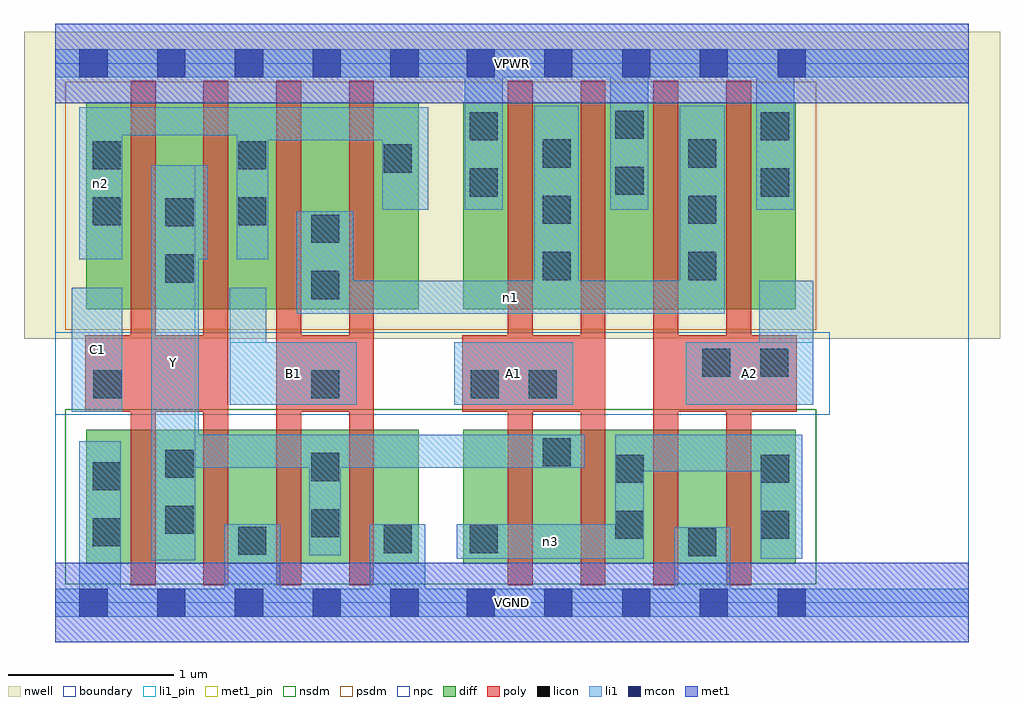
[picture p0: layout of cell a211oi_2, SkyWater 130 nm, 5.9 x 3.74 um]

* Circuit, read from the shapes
.subckt a211oi_2 A1 A2 B1 C1 VGND VPWR Y n1 n2 n3
XM1 Y C1 VGND VSUBS sky130_fd_pr__nfet_01v8 w=0.81 l=0.15 m=2
XM2 Y B1 VGND VSUBS sky130_fd_pr__nfet_01v8 w=0.81 l=0.15 m=2
XM3 Y A1 n3 VSUBS sky130_fd_pr__nfet_01v8 w=0.81 l=0.15 m=2
XM4 VGND A2 n3 VSUBS sky130_fd_pr__nfet_01v8 w=0.81 l=0.15 m=2
XM5 Y C1 n2 n4 sky130_fd_pr__pfet_01v8 w=1.25 l=0.15 m=2
XM6 n1 B1 n2 n4 sky130_fd_pr__pfet_01v8 w=1.25 l=0.15 m=2
XM7 n1 A1 VPWR n4 sky130_fd_pr__pfet_01v8 w=1.25 l=0.15 m=2
XM8 n1 A2 VPWR n4 sky130_fd_pr__pfet_01v8 w=1.25 l=0.15 m=2
.ends

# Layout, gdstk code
import gdstk
lib = gdstk.Library(unit=1e-6, precision=1e-09)
def R(c, l, rs):  # rectangles x0, y0, x1, y1
    for r in rs: c.add(gdstk.rectangle(r[:2], r[2:], *l))
def A(c, l, x, y, w, h, nx, ny, dx, dy):  # array of equal rectangles
    R(c, l, [(x+i*dx, y+j*dy, x+i*dx+w, y+j*dy+h) for i in range(nx) for j in range(ny)])
nwell = (64, 20)
diff = (65, 20)
poly = (66, 20)
licon = (66, 44)
li1_pin = (67, 16)
li1 = (67, 20)
mcon = (67, 44)
met1_pin = (68, 16)
met1 = (68, 20)
nsdm = (93, 44)
psdm = (94, 20)
npc = (95, 20)
boundary = (235, 4)

a211oi_2 = lib.new_cell('a211oi_2')
R(a211oi_2, nwell, [(-0.19,1.595,5.71,3.45), (0,1.595,5.52,3.45)])
R(a211oi_2, diff, [(0.185,0.235,2.195,1.045), (2.465,0.235,4.475,1.045), (0.185,1.775,2.195,3.025), (2.465,1.775,4.475,3.025)])
A(a211oi_2, poly, 0.455, 0.105, 0.15, 3.05, 4, 1, 0.44, 0)
A(a211oi_2, poly, 2.735, 0.105, 0.15, 3.05, 4, 1, 0.44, 0)
R(a211oi_2, poly, [(0.18,1.155,1.045,1.615), (1.335,1.155,1.925,1.615), (2.46,1.155,3.325,1.615), (3.615,1.155,4.48,1.615)])
A(a211oi_2, licon, 2.945, 1.95, 0.17, 0.17, 1, 3, 0, 0.34)
A(a211oi_2, licon, 3.825, 1.95, 0.17, 0.17, 1, 3, 0, 0.34)
R(a211oi_2, licon, [(3.825,0.28,3.995,0.45), (1.105,0.29,1.275,0.46), (1.985,0.3,2.155,0.47), (2.505,0.3,2.675,0.47), (0.225,0.34,0.395,0.51), (3.385,0.385,3.555,0.555), (4.265,0.385,4.435,0.555), (1.545,0.395,1.715,0.565), (0.665,0.415,0.835,0.585), (0.225,0.68,0.395,0.85), (3.385,0.725,3.555,0.895), (4.265,0.725,4.435,0.895), (1.545,0.735,1.715,0.905), (0.665,0.755,0.835,0.925), (2.945,0.825,3.115,0.995), (0.23,1.235,0.4,1.405), (1.545,1.235,1.715,1.405), (2.51,1.235,2.68,1.405), (2.86,1.235,3.03,1.405), (3.91,1.365,4.08,1.535), (4.26,1.365,4.43,1.535), (1.545,1.835,1.715,2.005), (0.665,1.935,0.835,2.105), (1.545,2.175,1.715,2.345), (0.665,2.275,0.835,2.445), (0.225,2.28,0.395,2.45), (1.105,2.28,1.275,2.45), (2.505,2.455,2.675,2.625), (4.265,2.455,4.435,2.625), (3.385,2.465,3.555,2.635), (1.985,2.6,2.155,2.77), (0.225,2.62,0.395,2.79), (1.105,2.62,1.275,2.79), (2.505,2.795,2.675,2.965), (4.265,2.795,4.435,2.965), (3.385,2.805,3.555,2.975)])
R(a211oi_2, li1_pin, [(0.58,0.255,0.845,2.645), (0.1,1.155,0.405,1.905), (1.055,1.195,1.82,1.575), (2.41,1.195,3.13,1.575), (3.81,1.195,4.58,1.575)])
A(a211oi_2, li1, 2.475, 2.375, 0.23, 0.97, 3, 1, 0.88, 0)
R(a211oi_2, li1, [(0,-0.085,5.52,0.085), (0.145,-0.085,0.395,0.975), (1.02,-0.085,1.36,0.475), (1.9,-0.085,2.235,0.475), (3.74,-0.085,4.08,0.455), (0.58,0.255,0.845,2.645), (2.425,0.265,3.555,0.475), (3.385,0.265,3.555,1.015), (4.265,0.265,4.515,1.015), (1.535,0.285,1.725,1.015), (3.385,0.795,4.515,1.015), (0.58,0.815,3.2,1.015), (0.58,0.815,0.865,2.645), (0.1,1.155,0.405,1.905), (1.055,1.195,1.82,1.575), (1.055,1.195,1.275,1.905), (2.41,1.195,3.13,1.575), (3.81,1.195,4.58,1.575), (4.255,1.195,4.58,1.945), (1.46,1.745,4.045,1.945), (1.46,1.745,1.8,2.365), (2.895,1.745,3.165,3.005), (3.775,1.745,4.045,3.005), (0.145,2.075,0.405,2.995), (0.58,2.075,0.92,2.645), (1.095,2.075,1.285,2.995), (1.975,2.375,2.255,2.995), (1.095,2.795,2.255,2.995), (0.145,2.825,2.255,2.995), (0,3.175,5.52,3.345)])
A(a211oi_2, mcon, 0.145, -0.085, 0.17, 0.17, 5, 2, 0.47, 3.26)
A(a211oi_2, mcon, 2.485, -0.085, 0.17, 0.17, 5, 2, 0.47, 3.26)
R(a211oi_2, met1_pin, [(0,-0.24,5.52,0.24), (0,3.02,5.52,3.5)])
R(a211oi_2, met1, [(0,-0.24,5.52,0.24), (0,3.02,5.52,3.5)])
R(a211oi_2, nsdm, [(0.06,0.11,4.6,1.17)])
R(a211oi_2, psdm, [(0.06,1.65,4.6,3.15)])
R(a211oi_2, npc, [(0,1.135,4.68,1.635)])
R(a211oi_2, boundary, [(0,0,5.52,3.26)])
a211oi_2.add(gdstk.Label('A1', (2.77,1.385), layer=67, texttype=5))
a211oi_2.add(gdstk.Label('A2', (4.195,1.385), layer=67, texttype=5))
a211oi_2.add(gdstk.Label('B1', (1.437,1.385), layer=67, texttype=5))
a211oi_2.add(gdstk.Label('C1', (0.252,1.53), layer=67, texttype=5))
a211oi_2.add(gdstk.Label('Y', (0.712,1.45), layer=67, texttype=5))
a211oi_2.add(gdstk.Label('n3', (2.99,0.37), layer=67, texttype=5))
a211oi_2.add(gdstk.Label('n2', (0.275,2.535), layer=67, texttype=5))
a211oi_2.add(gdstk.Label('n1', (2.752,1.845), layer=67, texttype=5))
a211oi_2.add(gdstk.Label('VPWR', (2.76,3.26), layer=68, texttype=5))
a211oi_2.add(gdstk.Label('VGND', (2.76,0), layer=68, texttype=5))
a211oi_2.add(gdstk.Label('A1', (2.77,1.385), layer=67, texttype=16))
a211oi_2.add(gdstk.Label('A2', (4.195,1.385), layer=67, texttype=16))
a211oi_2.add(gdstk.Label('B1', (1.437,1.385), layer=67, texttype=16))
a211oi_2.add(gdstk.Label('C1', (0.252,1.53), layer=67, texttype=16))
a211oi_2.add(gdstk.Label('Y', (0.712,1.45), layer=67, texttype=16))
a211oi_2.add(gdstk.Label('VPWR', (2.76,3.26), layer=68, texttype=16))
a211oi_2.add(gdstk.Label('VGND', (2.76,0), layer=68, texttype=16))

lib.write_gds('a211oi_2.gds')
